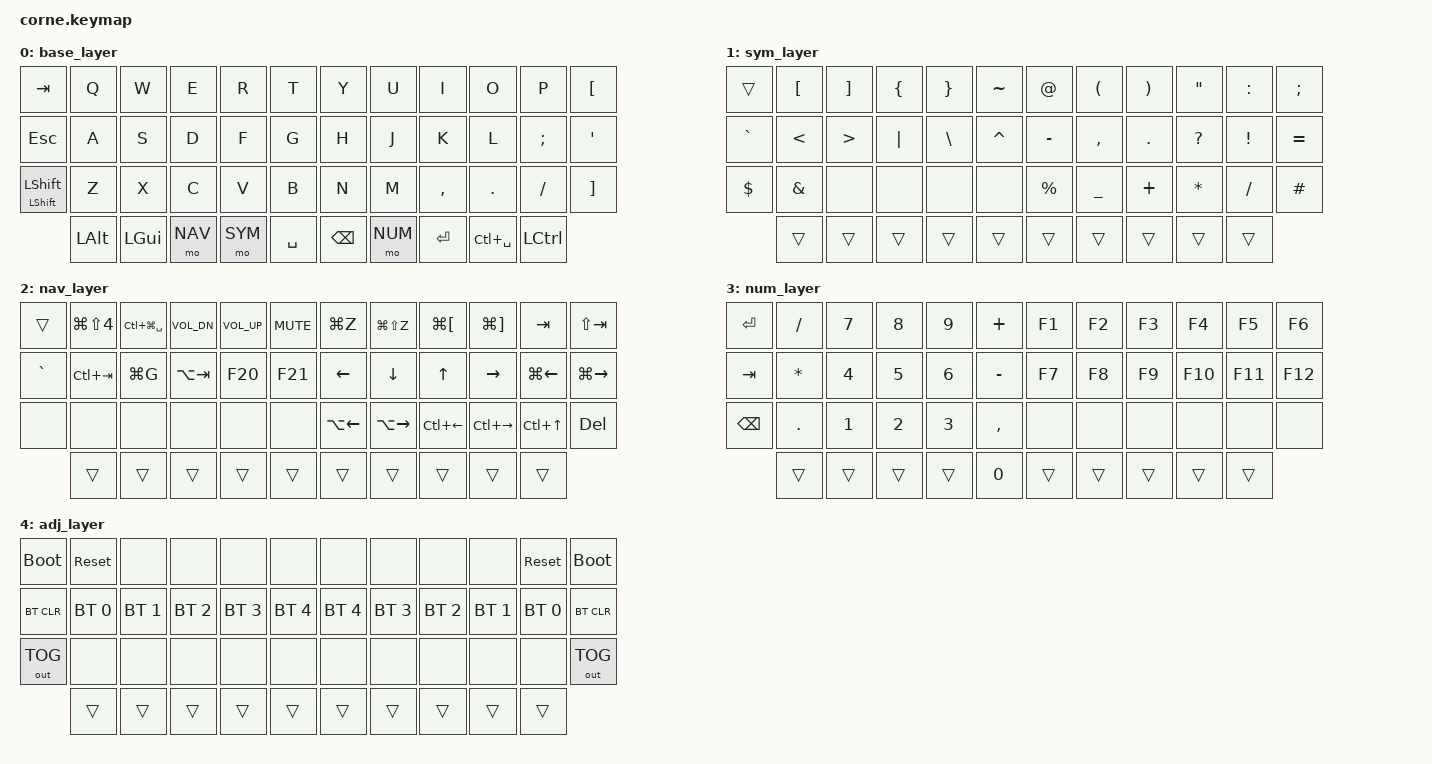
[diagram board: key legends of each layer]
/*
 * Anywhy Flake M (46) — раскладка v9, ФАЗА 1 (СТАРТ, без Ukelele/Karabiner)
 * SPDX-License-Identifier: MIT
 *
 * Что работает СРАЗУ, без настройки macOS:
 *   - английский на 100% (буквы, вся пунктуация, символы)
 *   - русские буквы на штатных местах ЙЦУКЕН
 *   - слои, стрелки, нумпад, шорткаты
 * Что НЕ работает до Ukelele:
 *   - русская пунктуация (клавиша точки в RU даёт букву — это лечит Ukelele в Фазе 2)
 *   - (язык уже работает: W+S = English, O+L = Русский, через ⌘F11/⌘F12)
 *
 * Когда освоишься — ставь flake_full.keymap + Ukelele/Karabiner (см. flake_setup.md).
 *
 * Слои: 0 BASE · 1 SYM · 2 NAV · 3 NUM · 4 ADJ
 * Язык: W+S -> ⌘F11 = English · O+L -> ⌘F12 = Русский
 * Пальцы:  левый  ⌥ ⌘ NAV SYM Space   |   правый  ⌫ NUM Enter Raycast(⌃Space) ⌃
 * Позиции: ряд1 0..11 · ряд2 12..23 · ряд3 24..35 · пальцы 36..45
 */

#include <behaviors.dtsi>
#include <dt-bindings/zmk/keys.h>
#include <dt-bindings/zmk/bt.h>
#include <dt-bindings/zmk/outputs.h>

#define BASE 0
#define SYM  1
#define NAV  2
#define NUM  3
#define ADJ  4

&sk { release-after-ms = <2000>; quick-release; };

/ {
    behaviors {
        // тап = липкий Shift (заглавные одной рукой) · зажим = обычный Shift (⇧+стрелки, ⇧+клик)
        hs: hold_or_sticky_shift {
            compatible = "zmk,behavior-hold-tap";
            #binding-cells = <2>;
            tapping-term-ms = <200>;
            flavor = "tap-preferred";
            bindings = <&kp>, <&sk>;
        };
    };

    conditional_layers {
        compatible = "zmk,conditional-layers";
        tri_adjust { if-layers = <NAV NUM>; then-layer = <ADJ>; };
    };

    combos {
        compatible = "zmk,combos";
        // W+S (один палец, вертикаль) -> ⌘F11 -> English
        combo_en { timeout-ms = <50>; key-positions = <2 14>;  bindings = <&kp LG(F11)>; layers = <BASE>; };
        // O+L (один палец, вертикаль) -> ⌘F12 -> Русский
        combo_ru { timeout-ms = <50>; key-positions = <9 21>;  bindings = <&kp LG(F12)>; layers = <BASE>; };
    };

    keymap {
        compatible = "zmk,keymap";

        // ───────── 0 · BASE (только буквы) ─────────
        base_layer {
            bindings = <
   &kp TAB      &kp Q      &kp W      &kp E      &kp R      &kp T          &kp Y      &kp U      &kp I      &kp O      &kp P      &kp LBKT
   &kp ESC      &kp A      &kp S      &kp D      &kp F      &kp G          &kp H      &kp J      &kp K      &kp L      &kp SEMI   &kp SQT
   &hs LSHFT LSHFT &kp Z   &kp X      &kp C      &kp V      &kp B          &kp N      &kp M      &kp COMMA  &kp DOT    &kp FSLH   &kp RBKT
                &kp LALT   &kp LGUI   &mo NAV    &mo SYM    &kp SPACE      &kp BSPC   &mo NUM    &kp RET    &kp LC(SPACE) &kp LCTRL
            >;
        };

        // ───────── 1 · SYM (левый палец → правая рука) ─────────
        // home row = - , . ? ! = · частые символы. Обычные коды (EN верно; RU-пунктуация — после Ukelele).
        sym_layer {
            bindings = <
   &trans       &kp LBKT   &kp RBKT   &kp LBRC   &kp RBRC   &kp TILDE      &kp AT     &kp LPAR   &kp RPAR   &kp DQT    &kp COLON  &kp SEMI
   &kp GRAVE    &kp LT     &kp GT     &kp PIPE   &kp BSLH   &kp CARET      &kp MINUS  &kp COMMA  &kp DOT    &kp QMARK  &kp EXCL   &kp EQUAL
   &kp DLLR     &kp AMPS   &none      &none      &none      &none          &kp PRCNT  &kp UNDER  &kp PLUS   &kp ASTRK  &kp FSLH   &kp HASH
                &trans     &trans     &trans     &trans     &trans         &trans     &trans     &trans     &trans     &trans
            >;
        };

        // ───────── 2 · NAV (левый палец → правая рука) ─────────
        nav_layer {
            bindings = <
   &trans    &kp LG(LS(N4)) &kp LC(LG(SPACE)) &kp C_VOL_DN &kp C_VOL_UP &kp C_MUTE   &kp LG(Z)  &kp LG(LS(Z)) &kp LG(LBKT) &kp LG(RBKT) &kp TAB &kp LS(TAB)
   &kp GRAVE &kp LC(TAB)    &kp LG(G)         &kp LA(TAB)  &kp F20      &kp F21      &kp LEFT   &kp DOWN   &kp UP     &kp RIGHT  &kp LG(LEFT) &kp LG(RIGHT)
   &none     &none          &none             &none        &none        &none        &kp LA(LEFT) &kp LA(RIGHT) &kp LC(LEFT) &kp LC(RIGHT) &kp LC(UP) &kp DEL
             &trans         &trans            &trans       &trans       &trans       &trans     &trans     &trans     &trans     &trans
            >;
        };

        // ───────── 3 · NUM (правый палец → левая рука) ─────────
        // Enter/⌫/0 на левой половине (правый палец держит слой). Правая рука пустая.
        num_layer {
            bindings = <
   &kp RET      &kp FSLH   &kp N7     &kp N8     &kp N9     &kp PLUS       &kp F1     &kp F2     &kp F3     &kp F4     &kp F5     &kp F6
   &kp TAB      &kp ASTRK  &kp N4     &kp N5     &kp N6     &kp MINUS      &kp F7     &kp F8     &kp F9     &kp F10    &kp F11    &kp F12
   &kp BSPC     &kp DOT    &kp N1     &kp N2     &kp N3     &kp COMMA      &none      &none      &none      &none      &none      &none
                &trans     &trans     &trans     &trans     &kp N0         &trans     &trans     &trans     &trans     &trans
            >;
        };

        // ───────── 4 · ADJ (NAV+NUM) ─────────
        adj_layer {
            bindings = <
   &bootloader  &sys_reset &none      &none      &none      &none          &none      &none      &none      &none      &sys_reset &bootloader
   &bt BT_CLR   &bt BT_SEL 0 &bt BT_SEL 1 &bt BT_SEL 2 &bt BT_SEL 3 &bt BT_SEL 4  &bt BT_SEL 4 &bt BT_SEL 3 &bt BT_SEL 2 &bt BT_SEL 1 &bt BT_SEL 0 &bt BT_CLR
   &out OUT_TOG &none      &none      &none      &none      &none          &none      &none      &none      &none      &none      &out OUT_TOG
                &trans     &trans     &trans     &trans     &trans         &trans     &trans     &trans     &trans     &trans
            >;
        };
    };
};
